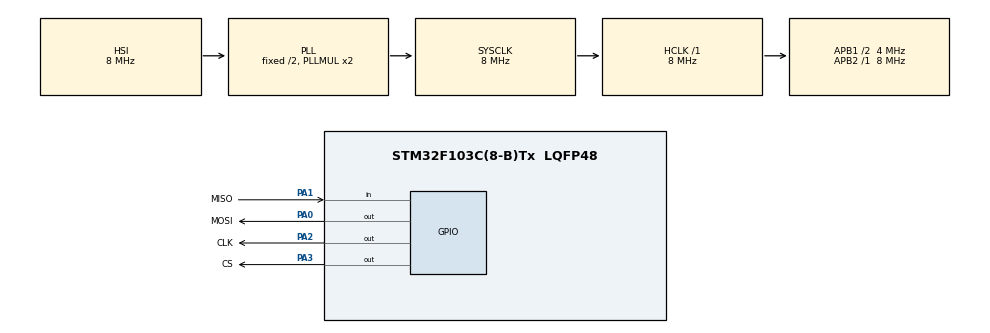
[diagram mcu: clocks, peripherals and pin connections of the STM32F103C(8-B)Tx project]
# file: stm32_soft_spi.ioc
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Mcu.Family=STM32F1
Mcu.Name=STM32F103C(8-B)Tx
Mcu.Package=LQFP48
NVIC.PriorityGroup=NVIC_PRIORITYGROUP_4
PA0-WKUP.GPIO_Label=MOSI
PA0-WKUP.Signal=GPIO_Output
PA1.GPIO_Label=MISO
PA1.Signal=GPIO_Input
PA13.Mode=Serial_Wire
PA13.Signal=SYS_JTMS-SWDIO
PA14.Mode=Serial_Wire
PA14.Signal=SYS_JTCK-SWCLK
PA2.GPIO_Label=CLK
PA2.Signal=GPIO_Output
PA3.GPIO_Label=CS
PA3.Signal=GPIO_Output
ProjectManager.HeapSize=0x200
ProjectManager.StackSize=0x400
ProjectManager.TargetToolchain=Makefile
RCC.ADCPresc=RCC_ADCPCLK2_DIV6
RCC.AHBFreq_Value=8000000
RCC.APB1CLKDivider=RCC_HCLK_DIV2
RCC.APB1Freq_Value=4000000
RCC.APB1TimFreq_Value=8000000
RCC.APB2Freq_Value=8000000
RCC.APB2TimFreq_Value=8000000
RCC.HCLKFreq_Value=8000000
RCC.SYSCLKFreq_VALUE=8000000
RCC.SYSCLKSource=RCC_SYSCLKSOURCE_PLLCLK
RCC.USBFreq_Value=8000000
board=stm32_soft_spi

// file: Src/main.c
/**
  ******************************************************************************
  * File Name          : main.c
  * Description        : Main program body
  ******************************************************************************
  ** This notice applies to any and all portions of this file
  * that are not between comment pairs USER CODE BEGIN and
  * USER CODE END. Other portions of this file, whether
  * inserted by the user or by software development tools
  * are owned by their respective copyright owners.
  *
  * COPYRIGHT(c) 2018 STMicroelectronics
  *
  * Redistribution and use in source and binary forms, with or without modification,
  * are permitted provided that the following conditions are met:
  *   1. Redistributions of source code must retain the above copyright notice,
  *      this list of conditions and the following disclaimer.
  *   2. Redistributions in binary form must reproduce the above copyright notice,
  *      this list of conditions and the following disclaimer in the documentation
  *      and/or other materials provided with the distribution.
  *   3. Neither the name of STMicroelectronics nor the names of its contributors
  *      may be used to endorse or promote products derived from this software
  *      without specific prior written permission.
  *
  * THIS SOFTWARE IS PROVIDED BY THE COPYRIGHT HOLDERS AND CONTRIBUTORS "AS IS"
  * AND ANY EXPRESS OR IMPLIED WARRANTIES, INCLUDING, BUT NOT LIMITED TO, THE
  * IMPLIED WARRANTIES OF MERCHANTABILITY AND FITNESS FOR A PARTICULAR PURPOSE ARE
  * DISCLAIMED. IN NO EVENT SHALL THE COPYRIGHT HOLDER OR CONTRIBUTORS BE LIABLE
  * FOR ANY DIRECT, INDIRECT, INCIDENTAL, SPECIAL, EXEMPLARY, OR CONSEQUENTIAL
  * DAMAGES (INCLUDING, BUT NOT LIMITED TO, PROCUREMENT OF SUBSTITUTE GOODS OR
  * SERVICES; LOSS OF USE, DATA, OR PROFITS; OR BUSINESS INTERRUPTION) HOWEVER
  * CAUSED AND ON ANY THEORY OF LIABILITY, WHETHER IN CONTRACT, STRICT LIABILITY,
  * OR TORT (INCLUDING NEGLIGENCE OR OTHERWISE) ARISING IN ANY WAY OUT OF THE USE
  * OF THIS SOFTWARE, EVEN IF ADVISED OF THE POSSIBILITY OF SUCH DAMAGE.
  *
  ******************************************************************************
  */
#include "main.h"
#include "stm32f1xx_hal.h"
#include "gpio.h"

/* USER CODE BEGIN Includes */
#include "pins_ext.h"
#include "soft_spi.h"
#include "MaxMatrix.h"

/* USER CODE END Includes */

/* USER CODE BEGIN PV */
/* Private variables ---------------------------------------------------------*/
uint8_t MATRIX_COUNT = 2; //how many MAX7219 are connected
char string1[] = "start"; // Scrolling Text
char letters[10];
/* USER CODE END PV */

void SystemClock_Config(void);

/* USER CODE BEGIN PFP */
/* Private function prototypes -----------------------------------------------*/

/* USER CODE END PFP */

int main(void)
{

  /* MCU Configuration----------------------------------------------------------*/

  /* Reset of all peripherals, Initializes the Flash interface and the Systick. */
  HAL_Init();

  /* Configure the system clock */
  SystemClock_Config();

  /* Initialize all configured peripherals */
  MX_GPIO_Init();

  /* USER CODE BEGIN 2 */

  // pin_read(GPIO_TypeDef* GPIOx, uint16_t GPIO_Pin);

  /* USER CODE END 2 */

  /* Infinite loop */
  /* USER CODE BEGIN WHILE */
  soft_spi_set_bit_order(SPI_MSB_FIRST);
  soft_spi_set_data_mode(SPI_MODE0);
  soft_spi_set_clock_divider(SPI_CLOCK_DIV128);

  Max_Matrix(/*data_pin, load_pin, clock_pin,*/ MATRIX_COUNT); // define Library
  MAX_MATRIX_init(); // module MAX7219
  setIntensity(0); // LED Intensity 0-15
  printStringWithShift(string1, 100); // Send scrolling Text
  HAL_Delay(1000);

  while (1)
  {
    for(uint16_t i = 0; i<16; i++)
    {
      utoa(i, letters, 16); // integer to string hexadecimal base
      shift_Left(false, true);
      printStringWithShift(letters, 100); // Send scrolling Text
      HAL_Delay(300);
    }

  /* USER CODE END WHILE */

  }

}

/** System Clock Configuration
*/
void SystemClock_Config(void)
{

  RCC_OscInitTypeDef RCC_OscInitStruct;
  RCC_ClkInitTypeDef RCC_ClkInitStruct;

    /**Initializes the CPU, AHB and APB busses clocks
    */
  RCC_OscInitStruct.OscillatorType = RCC_OSCILLATORTYPE_HSI;
  RCC_OscInitStruct.HSIState = RCC_HSI_ON;
  RCC_OscInitStruct.HSICalibrationValue = 16;
  RCC_OscInitStruct.PLL.PLLState = RCC_PLL_ON;
  RCC_OscInitStruct.PLL.PLLSource = RCC_PLLSOURCE_HSI_DIV2;
  RCC_OscInitStruct.PLL.PLLMUL = RCC_PLL_MUL2;
  if (HAL_RCC_OscConfig(&RCC_OscInitStruct) != HAL_OK)
  {
    _Error_Handler(__FILE__, __LINE__);
  }

    /**Initializes the CPU, AHB and APB busses clocks
    */
  RCC_ClkInitStruct.ClockType = RCC_CLOCKTYPE_HCLK|RCC_CLOCKTYPE_SYSCLK
                              |RCC_CLOCKTYPE_PCLK1|RCC_CLOCKTYPE_PCLK2;
  RCC_ClkInitStruct.SYSCLKSource = RCC_SYSCLKSOURCE_PLLCLK;
  RCC_ClkInitStruct.AHBCLKDivider = RCC_SYSCLK_DIV1;
  RCC_ClkInitStruct.APB1CLKDivider = RCC_HCLK_DIV2;
  RCC_ClkInitStruct.APB2CLKDivider = RCC_HCLK_DIV1;

  if (HAL_RCC_ClockConfig(&RCC_ClkInitStruct, FLASH_LATENCY_0) != HAL_OK)
  {
    _Error_Handler(__FILE__, __LINE__);
  }

    /**Configure the Systick interrupt time
    */
  HAL_SYSTICK_Config(HAL_RCC_GetHCLKFreq()/1000);

    /**Configure the Systick
    */
  HAL_SYSTICK_CLKSourceConfig(SYSTICK_CLKSOURCE_HCLK);

  /* SysTick_IRQn interrupt configuration */
  HAL_NVIC_SetPriority(SysTick_IRQn, 0, 0);
}

void _Error_Handler(char * file, int line)
{
  while(1)
  {
  }
}

/************************ (C) COPYRIGHT STMicroelectronics *****END OF FILE****/
